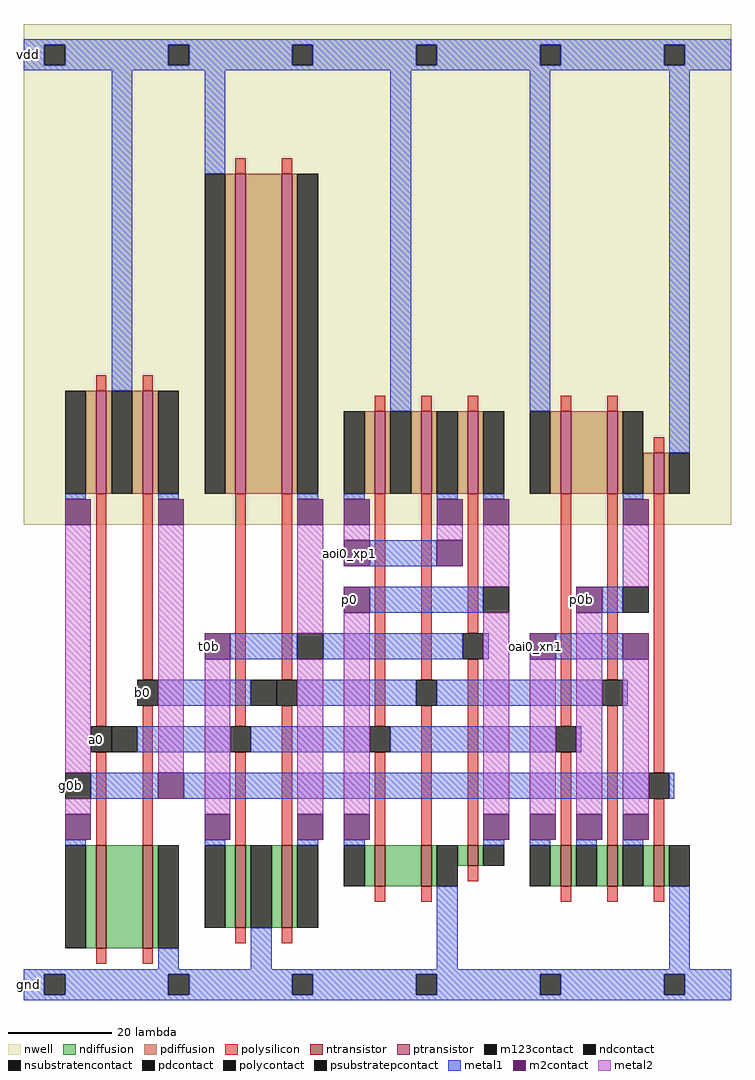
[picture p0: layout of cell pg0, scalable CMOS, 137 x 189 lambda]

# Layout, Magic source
magic
tech scmos
<< nwell >>
rect 0 92 137 189
<< ntransistor >>
rect 14 10 16 30
rect 23 10 25 30
rect 41 14 43 30
rect 50 14 52 30
rect 68 22 70 30
rect 77 22 79 30
rect 86 26 88 30
rect 104 22 106 30
rect 113 22 115 30
rect 122 22 124 30
<< ptransistor >>
rect 14 98 16 118
rect 23 98 25 118
rect 41 98 43 160
rect 50 98 52 160
rect 68 98 70 114
rect 77 98 79 114
rect 86 98 88 114
rect 104 98 106 114
rect 113 98 115 114
rect 122 98 124 106
<< ndiffusion >>
rect 12 10 14 30
rect 16 10 23 30
rect 25 10 26 30
rect 39 14 41 30
rect 43 14 44 30
rect 48 14 50 30
rect 52 14 53 30
rect 66 22 68 30
rect 70 22 77 30
rect 79 22 80 30
rect 84 26 86 30
rect 88 26 89 30
rect 102 22 104 30
rect 106 22 107 30
rect 111 22 113 30
rect 115 22 116 30
rect 120 22 122 30
rect 124 22 125 30
<< pdiffusion >>
rect 12 98 14 118
rect 16 98 17 118
rect 21 98 23 118
rect 25 98 26 118
rect 39 98 41 160
rect 43 98 50 160
rect 52 98 53 160
rect 66 98 68 114
rect 70 98 71 114
rect 75 98 77 114
rect 79 98 80 114
rect 84 98 86 114
rect 88 98 89 114
rect 102 98 104 114
rect 106 98 113 114
rect 115 98 116 114
rect 120 98 122 106
rect 124 98 125 106
<< ndcontact >>
rect 8 10 12 30
rect 26 10 30 30
rect 35 14 39 30
rect 44 14 48 30
rect 53 14 57 30
rect 62 22 66 30
rect 80 22 84 30
rect 89 26 93 30
rect 98 22 102 30
rect 107 22 111 30
rect 116 22 120 30
rect 125 22 129 30
<< pdcontact >>
rect 8 98 12 118
rect 17 98 21 118
rect 26 98 30 118
rect 35 98 39 160
rect 53 98 57 160
rect 62 98 66 114
rect 71 98 75 114
rect 80 98 84 114
rect 89 98 93 114
rect 98 98 102 114
rect 116 98 120 114
rect 125 98 129 106
<< psubstratepcontact >>
rect 4 1 8 5
rect 28 1 32 5
rect 52 1 56 5
rect 76 1 80 5
rect 100 1 104 5
rect 124 1 128 5
<< nsubstratencontact >>
rect 4 181 8 185
rect 28 181 32 185
rect 52 181 56 185
rect 76 181 80 185
rect 100 181 104 185
rect 124 181 128 185
<< polysilicon >>
rect 41 160 43 163
rect 50 160 52 163
rect 14 118 16 121
rect 23 118 25 121
rect 68 114 70 117
rect 77 114 79 117
rect 86 114 88 117
rect 104 114 106 117
rect 113 114 115 117
rect 122 106 124 109
rect 14 53 16 98
rect 23 62 25 98
rect 14 30 16 48
rect 23 30 25 57
rect 41 53 43 98
rect 50 62 52 98
rect 41 30 43 48
rect 50 30 52 57
rect 68 53 70 98
rect 77 62 79 98
rect 86 71 88 98
rect 68 30 70 48
rect 77 30 79 57
rect 86 30 88 66
rect 104 53 106 98
rect 113 62 115 98
rect 104 30 106 48
rect 113 30 115 57
rect 122 44 124 98
rect 122 30 124 39
rect 86 23 88 26
rect 68 19 70 22
rect 77 19 79 22
rect 104 19 106 22
rect 113 19 115 22
rect 122 19 124 22
rect 41 11 43 14
rect 50 11 52 14
rect 14 7 16 10
rect 23 7 25 10
<< polycontact >>
rect 22 57 26 62
rect 13 48 17 53
rect 49 57 53 62
rect 40 48 44 53
rect 85 66 89 71
rect 76 57 80 62
rect 67 48 71 53
rect 112 57 116 62
rect 103 48 107 53
rect 121 39 125 44
<< metal1 >>
rect 0 185 137 186
rect 0 181 4 185
rect 8 181 28 185
rect 32 181 52 185
rect 56 181 76 185
rect 80 181 100 185
rect 104 181 124 185
rect 128 181 137 185
rect 0 180 137 181
rect 17 118 21 180
rect 35 160 39 180
rect 71 114 75 180
rect 98 114 102 180
rect 8 97 12 98
rect 26 97 30 98
rect 53 97 57 98
rect 62 97 66 98
rect 80 97 84 98
rect 125 106 129 180
rect 89 97 93 98
rect 116 97 120 98
rect 67 84 80 89
rect 67 75 89 80
rect 112 75 116 80
rect 40 66 53 71
rect 58 66 85 71
rect 89 66 90 71
rect 103 66 116 71
rect 26 57 44 62
rect 53 57 76 62
rect 80 57 112 62
rect 116 57 117 62
rect 22 48 40 53
rect 44 48 67 53
rect 71 48 103 53
rect 107 48 108 53
rect 13 39 26 44
rect 31 39 121 44
rect 125 39 126 44
rect 8 30 12 31
rect 35 30 39 31
rect 53 30 57 31
rect 62 30 66 31
rect 89 30 93 31
rect 98 30 102 31
rect 107 30 111 31
rect 116 30 120 31
rect 26 6 30 10
rect 44 6 48 14
rect 80 6 84 22
rect 125 6 129 22
rect 0 5 137 6
rect 0 1 4 5
rect 8 1 28 5
rect 32 1 52 5
rect 56 1 76 5
rect 80 1 100 5
rect 104 1 124 5
rect 128 1 137 5
rect 0 0 137 1
<< m2contact >>
rect 8 92 13 97
rect 26 92 31 97
rect 53 92 58 97
rect 62 92 67 97
rect 80 92 85 97
rect 89 92 94 97
rect 116 92 121 97
rect 62 84 67 89
rect 80 84 85 89
rect 62 75 67 80
rect 107 75 112 80
rect 35 66 40 71
rect 98 66 103 71
rect 116 66 121 71
rect 26 39 31 44
rect 8 31 13 36
rect 35 31 40 36
rect 53 31 58 36
rect 62 31 67 36
rect 89 31 94 36
rect 98 31 103 36
rect 107 31 112 36
rect 116 31 121 36
<< metal2 >>
rect 8 44 13 92
rect 26 44 31 92
rect 53 71 58 92
rect 62 89 67 92
rect 80 89 85 92
rect 89 80 94 92
rect 116 80 121 92
rect 8 36 13 39
rect 35 36 40 66
rect 53 36 58 66
rect 62 36 67 75
rect 89 36 94 75
rect 98 36 103 66
rect 107 36 112 75
rect 116 36 121 66
<< m123contact >>
rect 17 48 22 53
rect 8 39 13 44
rect 53 66 58 71
rect 44 57 49 62
rect 89 75 94 80
rect 116 75 121 80
<< labels >>
rlabel metal1 13 48 15 53 0 a0
port 1 nsew
rlabel metal1 22 57 24 62 0 b0
port 2 nsew
rlabel metal1 8 39 10 44 0 g0b
port 3 nsew
rlabel m2contact 62 75 64 80 0 p0
port 4 nsew
rlabel m2contact 107 75 109 80 0 p0b
port 5 nsew
rlabel m2contact 35 66 37 71 0 t0b
port 6 nsew
rlabel m2contact 62 84 64 89 0 aoi0_xp1
rlabel m2contact 98 66 100 71 0 oai0_xn1
rlabel metal1 0 180 2 186 0 vdd
port 7 nsew
rlabel metal1 0 0 2 6 0 gnd
port 8 nsew
<< end >>
